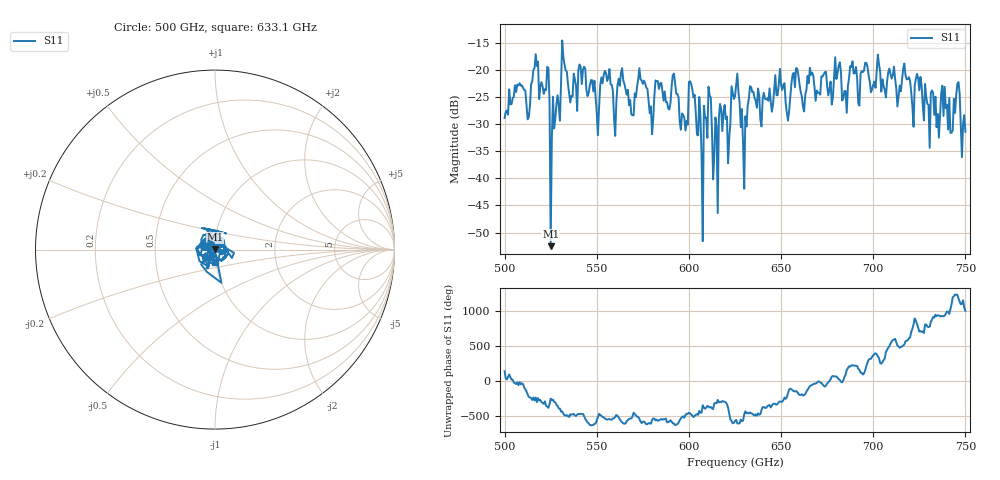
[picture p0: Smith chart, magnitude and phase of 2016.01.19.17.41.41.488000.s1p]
!Created with skrf (http://scikit-rf.org).
# GHz S RI R 50.0
!freq ReS11 ImS11
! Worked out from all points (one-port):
!   401 points, 500 GHz to 750 GHz, reference 50 ohm
!   lowest |S11| = -52.5 dB at 525 GHz (marker M1), VSWR 1.00, Z = 49.9 + j0.226 ohm
!   |S11| at or under -10 dB: start of sweep to end of sweep
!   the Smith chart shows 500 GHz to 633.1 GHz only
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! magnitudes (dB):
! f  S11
! 500 GHz  -28.8
! 513.1 GHz  -28.7
! 516.9 GHz  -17.0
! 523.1 GHz  -19.4
! 525 GHz  -52.5
! 526.2 GHz  -24.9
! 531.2 GHz  -14.5
! 550.6 GHz  -32.0
! 562.5 GHz  -22.9
! 568.8 GHz  -28.2
! 573.8 GHz  -21.7
! 579.4 GHz  -26.7
! 583.1 GHz  -22.0
! 593.8 GHz  -24.4
! 598.1 GHz  -31.1
! 601.2 GHz  -22.6
! 606.2 GHz  -28.5
! 610.6 GHz  -23.0
! 614.4 GHz  -28.7
! 625 GHz  -24.8
! 630 GHz  -41.9
! 633.8 GHz  -23.1
! 656.2 GHz  -20.8
! 687.5 GHz  -19.3
! 718.8 GHz  -21.6
! 741.9 GHz  -31.6
! 745.6 GHz  -22.6
! 750 GHz  -31.4
